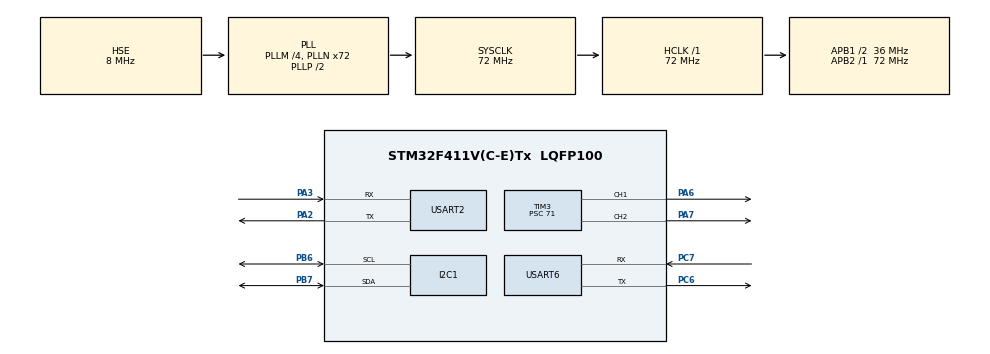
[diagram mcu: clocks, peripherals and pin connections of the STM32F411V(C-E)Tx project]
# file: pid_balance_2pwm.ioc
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Dma.Request0=USART6_RX
Dma.USART6_RX.0.Direction=DMA_PERIPH_TO_MEMORY
Dma.USART6_RX.0.FIFOMode=DMA_FIFOMODE_DISABLE
Dma.USART6_RX.0.Instance=DMA2_Stream1
Dma.USART6_RX.0.MemDataAlignment=DMA_MDATAALIGN_BYTE
Dma.USART6_RX.0.MemInc=DMA_MINC_ENABLE
Dma.USART6_RX.0.Mode=DMA_CIRCULAR
Dma.USART6_RX.0.PeriphDataAlignment=DMA_PDATAALIGN_BYTE
Dma.USART6_RX.0.PeriphInc=DMA_PINC_DISABLE
Dma.USART6_RX.0.Priority=DMA_PRIORITY_LOW
Mcu.Family=STM32F4
Mcu.Name=STM32F411V(C-E)Tx
Mcu.Package=LQFP100
NVIC.DMA2_Stream1_IRQn=true\:0\:0\:false\:false\:true\:false\:true\:true
NVIC.PriorityGroup=NVIC_PRIORITYGROUP_4
NVIC.TIM1_UP_TIM10_IRQn=true\:0\:0\:false\:false\:true\:true\:true\:true
NVIC.USART2_IRQn=true\:0\:0\:false\:false\:true\:true\:true\:true
NVIC.USART6_IRQn=true\:0\:0\:false\:false\:true\:true\:true\:true
PA2.Mode=Asynchronous
PA2.Signal=USART2_TX
PA3.Mode=Asynchronous
PA3.Signal=USART2_RX
PA6.Signal=S_TIM3_CH1
PA7.Signal=S_TIM3_CH2
PB6.Mode=I2C
PB6.Signal=I2C1_SCL
PB7.Mode=I2C
PB7.Signal=I2C1_SDA
PC14-OSC32_IN.Mode=LSE-External-Oscillator
PC14-OSC32_IN.Signal=RCC_OSC32_IN
PC15-OSC32_OUT.Mode=LSE-External-Oscillator
PC15-OSC32_OUT.Signal=RCC_OSC32_OUT
PC6.Mode=Asynchronous
PC6.Signal=USART6_TX
PC7.Mode=Asynchronous
PC7.Signal=USART6_RX
PH0\ -\ OSC_IN.Mode=HSE-External-Oscillator
PH0\ -\ OSC_IN.Signal=RCC_OSC_IN
PH1\ -\ OSC_OUT.Mode=HSE-External-Oscillator
PH1\ -\ OSC_OUT.Signal=RCC_OSC_OUT
ProjectManager.HeapSize=0x200
ProjectManager.StackSize=0x400
ProjectManager.TargetToolchain=MDK-ARM V5.32
RCC.48MHZClocksFreq_Value=36000000
RCC.AHBFreq_Value=72000000
RCC.APB1CLKDivider=RCC_HCLK_DIV2
RCC.APB1Freq_Value=36000000
RCC.APB1TimFreq_Value=72000000
RCC.APB2Freq_Value=72000000
RCC.APB2TimFreq_Value=72000000
RCC.CortexFreq_Value=72000000
RCC.HCLKFreq_Value=72000000
RCC.HSE_VALUE=8000000
RCC.HSI_VALUE=16000000
RCC.PLLM=4
RCC.PLLN=72
RCC.PLLSourceVirtual=RCC_PLLSOURCE_HSE
RCC.SYSCLKFreq_VALUE=72000000
RCC.SYSCLKSource=RCC_SYSCLKSOURCE_PLLCLK
RCC.VCOOutputFreq_Value=144000000
SH.S_TIM3_CH1.0=TIM3_CH1,PWM Generation1 CH1
SH.S_TIM3_CH2.0=TIM3_CH2,PWM Generation2 CH2
TIM1.Period=49
TIM1.Prescaler=7199
TIM3.Channel-PWM\ Generation1\ CH1=TIM_CHANNEL_1
TIM3.Channel-PWM\ Generation2\ CH2=TIM_CHANNEL_2
TIM3.Prescaler=71
USART2.VirtualMode=VM_ASYNC
USART6.VirtualMode=VM_ASYNC
VP_TIM1_VS_ClockSourceINT.Mode=Internal
VP_TIM3_VS_ClockSourceINT.Mode=Internal
board=custom

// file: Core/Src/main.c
/* USER CODE BEGIN Header */
/**
  ******************************************************************************
  * @file           : main.c
  * @brief          : Main program body
  ******************************************************************************
  * @attention
  *
  * Copyright (c) 2025 STMicroelectronics.
  * All rights reserved.
  *
  * This software is licensed under terms that can be found in the LICENSE file
  * in the root directory of this software component.
  * If no LICENSE file comes with this software, it is provided AS-IS.
  *
  ******************************************************************************
  */
/* USER CODE END Header */
#include "main.h"
#include "dma.h"
#include "i2c.h"
#include "tim.h"
#include "usart.h"
#include "gpio.h"

void SystemClock_Config(void);
/* USER CODE BEGIN PFP */
#include <string.h>
#include "uart_printf.h"
#include "mpu6050.h"
#include "pwm.h"
#include "pid.h"
#include "fs-i6x.h"

/* USER CODE END PFP */

/* USER CODE BEGIN 0 */

//if FS_I6A define to 1, means control by receive FS_I6A
#define FS_I6A 0
int throttle = 1150;
int count=0;
int isReady=0;
float dt_tim1_intr=0;

//TIM_CHANNEL_ALL
#define FUSION_RATE_PID 1.0
//#define FUSION_RATE_PID 0.20

void show_parameters()
{
	printf("###################################\r\n");
	printf("Kp:%f, Ki:%f, Kd:%f\r\n\r\n", Kp, Ki, Kd);
}

int ch_cnt=0;
void update_ch3(int val, float pid)
{
	int pwm_1;
	int pwm_2;
	float pid_adjust=0, _pid_adjust=0;
	//_pid_adjust = compensatePIDOutput(pid, curAngle);
	_pid_adjust = pid;
	pid_adjust = (1-FUSION_RATE_PID)*prev_pidAdjust + FUSION_RATE_PID*_pid_adjust;
	//printf("_adjust:%f adjust:%f\r\n", _pid_adjust, pid_adjust);

	pwm_1 = (int)pwm_filter(val+pid_adjust-(A2212_CH2_Offset/2));
	pwm_2 = (int)pwm_filter(val-pid_adjust+(A2212_CH2_Offset/2));

	if(ch_cnt++ % 100 == 0)
		printf("pwm_1:%d , pwm2:%d\r\n", pwm_1, pwm_2);

	set_pwm(TIM_CHANNEL_1, pwm_1);
	set_pwm(TIM_CHANNEL_2, pwm_2);
	//set_pwm(TIM_CHANNEL_2, (A2212_CH2_RATE*pwm_2));
}

float ftimer_2ms(float ftimer)
{
	return (1000/ftimer);
}

//SysClk=72MHz, Prescaler=49, ARR=7199
float calc_clk(int sysclk, int prescaler, int arr)
{
	float f_timer = sysclk/((prescaler+1)*(arr+1));
	return ftimer_2ms(f_timer);
}

void HAL_TIM_PeriodElapsedCallback(TIM_HandleTypeDef *htim)
{
  if (htim == &htim1)
  {
		if(isReady)
		{
			// update CH3: throttle
		#if FS_I6A
			throttle = pwm_filter(cur_channels[2]);
		#endif
			angle_calculate();
			pid_calculate();
			update_ch3(throttle, pidOutput);//pidOutput
		}
  }
}

void HAL_UARTEx_RxEventCallback(UART_HandleTypeDef *huart, uint16_t size)
{
	if (huart->Instance == USART2){

	}else if (huart->Instance == USART6){

		if(count % 100 == 0){
			IBUS_Parse();
			IBUS_update_ch();
		}

		memset(&ibus_buffer, 0, sizeof(ibus_buffer));
		IBUS_Init();
		count++;
	}
}

/* USER CODE END 0 */

int main(void)
{

  /* USER CODE BEGIN 1 */
	show_parameters();
  /* USER CODE END 1 */

  /* MCU Configuration--------------------------------------------------------*/

  /* Reset of all peripherals, Initializes the Flash interface and the Systick. */
  HAL_Init();

  /* Configure the system clock */
  SystemClock_Config();

  /* Initialize all configured peripherals */
  MX_GPIO_Init();
  MX_DMA_Init();
  MX_TIM3_Init();
  MX_USART2_UART_Init();
  MX_USART6_UART_Init();
  MX_I2C1_Init();
  MX_TIM1_Init();
	HAL_TIM_Base_Start_IT(&htim1);
	dt_tim1_intr = calc_clk(72000000, 7199, 49);

  /* USER CODE BEGIN 2 */
	printf("### init: pwm\r\n");
	start_pwm(TIM_CHANNEL_1);
	start_pwm(TIM_CHANNEL_2);

	set_pwm(TIM_CHANNEL_1, 1000);
	set_pwm(TIM_CHANNEL_2, 1000);

	HAL_Delay(5000);
	printf("### init: MPU\r\n");
	MPU6250_Init();
	Calibrate_Gyro_Offset();

	printf("### init: IBUS\r\n");
	//IBUS_Init();

	isReady = 1;
  /* USER CODE END 2 */

  /* Infinite loop */
  /* USER CODE BEGIN WHILE */
  while (1)
  {
		count++;
    /* USER CODE END WHILE */

    /* USER CODE BEGIN 3 */
		MPU6250_ReadData();
		Convert_MPU_Data();

		if(count % 200 == 0){
			//show_MPU_Data();
			//IBUS_show_ch();
		}

		HAL_Delay(10);
  }

	stop_pwm(TIM_CHANNEL_1);
	stop_pwm(TIM_CHANNEL_2);
  /* USER CODE END 3 */
}

void SystemClock_Config(void)
{
  RCC_OscInitTypeDef RCC_OscInitStruct = {0};
  RCC_ClkInitTypeDef RCC_ClkInitStruct = {0};

  /** Configure the main internal regulator output voltage
  */
  __HAL_RCC_PWR_CLK_ENABLE();
  __HAL_PWR_VOLTAGESCALING_CONFIG(PWR_REGULATOR_VOLTAGE_SCALE1);

  /** Initializes the RCC Oscillators according to the specified parameters
  * in the RCC_OscInitTypeDef structure.
  */
  RCC_OscInitStruct.OscillatorType = RCC_OSCILLATORTYPE_HSE;
  RCC_OscInitStruct.HSEState = RCC_HSE_ON;
  RCC_OscInitStruct.PLL.PLLState = RCC_PLL_ON;
  RCC_OscInitStruct.PLL.PLLSource = RCC_PLLSOURCE_HSE;
  RCC_OscInitStruct.PLL.PLLM = 4;
  RCC_OscInitStruct.PLL.PLLN = 72;
  RCC_OscInitStruct.PLL.PLLP = RCC_PLLP_DIV2;
  RCC_OscInitStruct.PLL.PLLQ = 4;
  if (HAL_RCC_OscConfig(&RCC_OscInitStruct) != HAL_OK)
  {
    Error_Handler();
  }

  /** Initializes the CPU, AHB and APB buses clocks
  */
  RCC_ClkInitStruct.ClockType = RCC_CLOCKTYPE_HCLK|RCC_CLOCKTYPE_SYSCLK
                              |RCC_CLOCKTYPE_PCLK1|RCC_CLOCKTYPE_PCLK2;
  RCC_ClkInitStruct.SYSCLKSource = RCC_SYSCLKSOURCE_PLLCLK;
  RCC_ClkInitStruct.AHBCLKDivider = RCC_SYSCLK_DIV1;
  RCC_ClkInitStruct.APB1CLKDivider = RCC_HCLK_DIV2;
  RCC_ClkInitStruct.APB2CLKDivider = RCC_HCLK_DIV1;

  if (HAL_RCC_ClockConfig(&RCC_ClkInitStruct, FLASH_LATENCY_2) != HAL_OK)
  {
    Error_Handler();
  }
}

void Error_Handler(void)
{
  __disable_irq();
  while (1)
  {
  }
}
